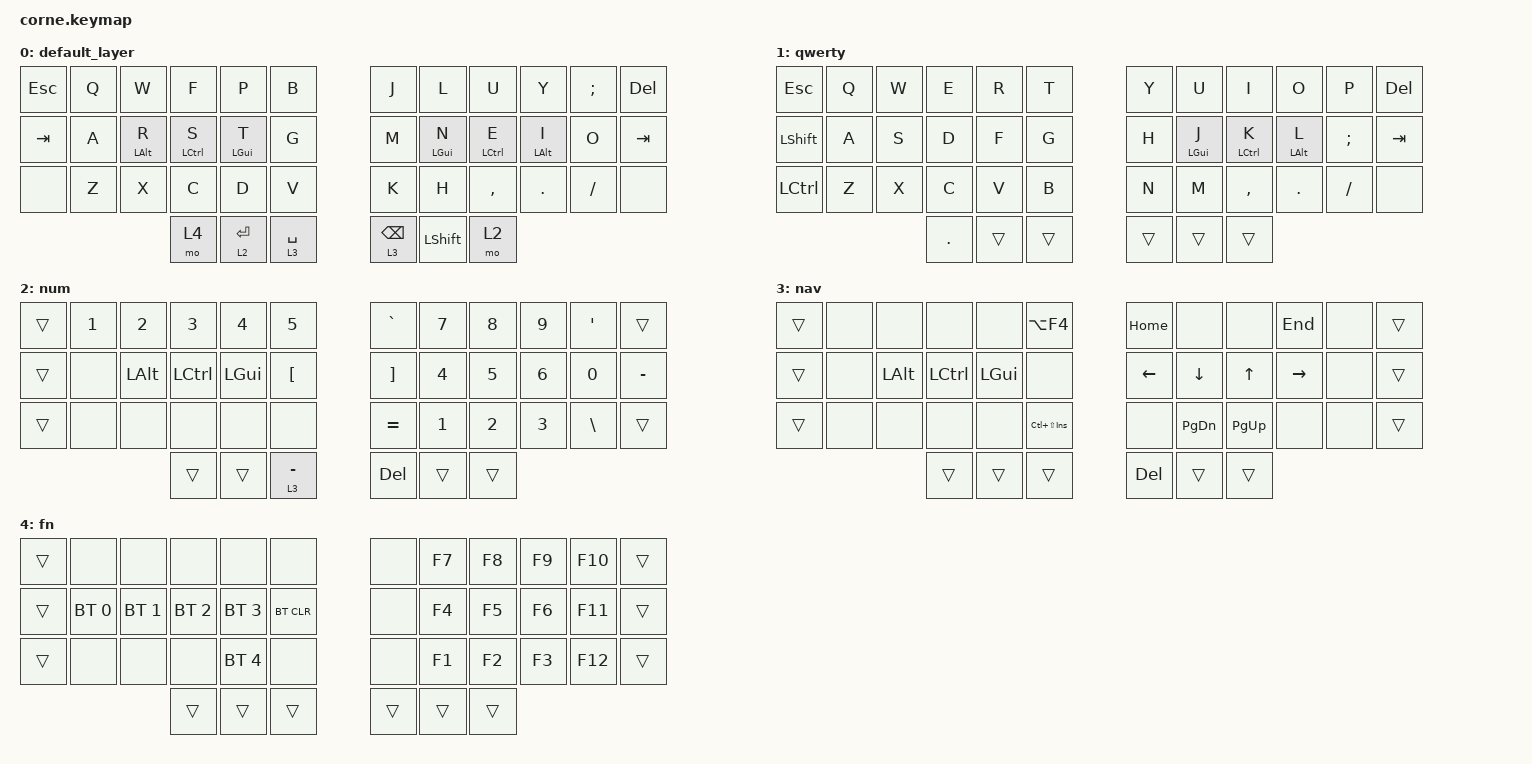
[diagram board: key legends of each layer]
/*
 * Copyright (c) 2020 The ZMK Contributors
 *
 * SPDX-License-Identifier: MIT
 */

#include <behaviors.dtsi>
#include <dt-bindings/zmk/bt.h>
#include <dt-bindings/zmk/keys.h>


&mt {
    flavor = "tap-preferred";
    tapping-term-ms = <220>;
    quick-tap-ms = <220>;
    require-prior-idle-ms = <130>;
};

/ {
    combos {
        compatible = "zmk,combos";
        combo_qwerty {
            timeout-ms = <50>;
            key-positions = <1 2 3>;
            bindings = <&to 1>;
        };
        combo_colemakdh {
            timeout-ms = <50>;
            key-positions = <8 9 10>;
            bindings = <&to 0>;
        };
    };
};

/ {
    keymap {
        compatible = "zmk,keymap";

        default_layer {
            bindings = <
&kp ESC    &kp Q  &kp W      &kp F         &kp P          &kp B          &kp J        &kp L      &kp U          &kp Y        &kp SEMI  &kp DEL
&kp TAB    &kp A  &mt LALT R &mt LCTRL S   &mt LGUI T     &kp G          &kp M        &mt LGUI N &mt LCTRL E    &mt LALT I   &kp O     &kp TAB
&none      &kp Z  &kp X      &kp C         &kp D          &kp V          &kp K        &kp H      &kp COMMA      &kp DOT      &kp FSLH  &none
                             &mo 4         &lt 2 RET      &lt 3 SPACE    &lt 3 BSPC   &kp LSHFT  &mo 2
            >;
        };

        qwerty {
            bindings = <
&kp ESC    &kp Q  &kp W      &kp E         &kp R          &kp T          &kp Y        &kp U      &kp I          &kp O        &kp P      &kp DEL
&kp LSHFT  &kp A  &kp S      &kp D         &kp F          &kp G          &kp H        &mt LGUI J &mt LCTRL K    &mt LALT L   &kp SEMI   &kp TAB
&kp LCTRL  &kp Z  &kp X      &kp C         &kp V          &kp B          &kp N        &kp M      &kp COMMA      &kp DOT      &kp FSLH   &none
                             &kp DOT       &trans         &trans         &trans       &trans     &trans
            >;
        };

        num {
            bindings = <
&trans    &kp N1     &kp N2    &kp N3     &kp N4    &kp N5               &kp GRAVE         &kp N7  &kp N8  &kp N9  &kp SQT   &trans
&trans    &none      &kp LALT  &kp LCTRL  &kp LGUI  &kp LEFT_BRACKET     &kp RIGHT_BRACKET &kp N4  &kp N5  &kp N6  &kp N0    &kp MINUS
&trans    &none      &none     &none      &none     &none                &kp EQUAL         &kp N1  &kp N2  &kp N3  &kp BSLH  &trans
                               &trans     &trans    &lt 3 MINUS          &kp DEL           &trans  &trans
            >;
        };

        nav {
            bindings = <
&trans  &none  &none     &none      &none     &kp LA(F4)         &kp HOME  &none      &none      &kp END    &none  &trans
&trans  &none  &kp LALT  &kp LCTRL  &kp LGUI  &none              &kp LEFT  &kp DOWN   &kp UP     &kp RIGHT  &none  &trans
&trans  &none  &none     &none      &none     &kp LC(LS(INS))    &none     &kp PG_DN  &kp PG_UP  &none      &none  &trans
                         &trans     &trans    &trans             &kp DEL   &trans     &trans
            >;
        };

        fn {
            bindings = <
&trans  &none         &none         &none         &none         &none         &none   &kp F7  &kp F8  &kp F9 &kp F10 &trans
&trans  &bt BT_SEL 0  &bt BT_SEL 1  &bt BT_SEL 2  &bt BT_SEL 3  &bt BT_CLR    &none   &kp F4  &kp F5  &kp F6 &kp F11 &trans
&trans  &none         &none         &none         &bt BT_SEL 4  &none         &none   &kp F1  &kp F2  &kp F3 &kp F12 &trans
                                    &trans        &trans        &trans        &trans  &trans  &trans
            >;
        };
    };
};
